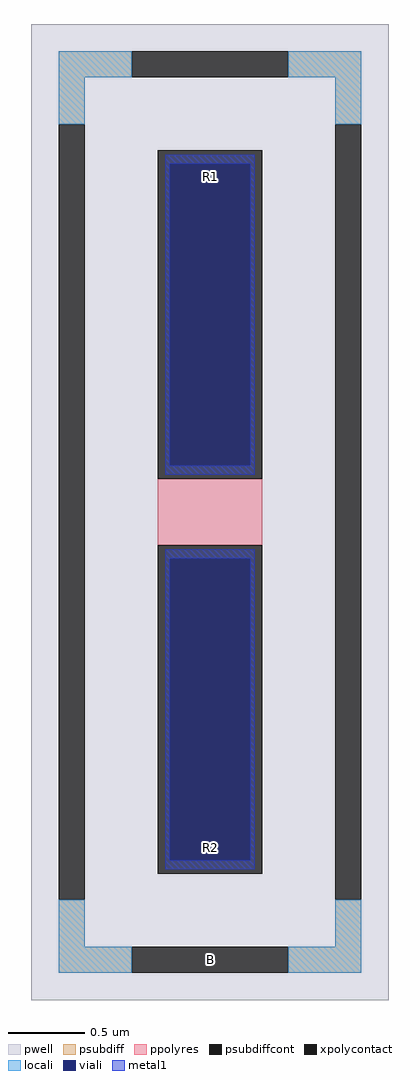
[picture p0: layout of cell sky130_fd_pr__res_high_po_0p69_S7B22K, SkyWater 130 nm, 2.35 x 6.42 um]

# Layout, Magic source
magic
tech sky130A
magscale 1 2
<< pwell >>
rect -235 -642 235 642
<< psubdiff >>
rect -199 572 -103 606
rect 103 572 199 606
rect -199 510 -165 572
rect 165 510 199 572
rect -199 -572 -165 -510
rect 165 -572 199 -510
rect -199 -606 -103 -572
rect 103 -606 199 -572
<< psubdiffcont >>
rect -103 572 103 606
rect -199 -510 -165 510
rect 165 -510 199 510
rect -103 -606 103 -572
<< xpolycontact >>
rect -69 44 69 476
rect -69 -476 69 -44
<< ppolyres >>
rect -69 -44 69 44
<< locali >>
rect -199 572 -103 606
rect 103 572 199 606
rect -199 510 -165 572
rect 165 510 199 572
rect -199 -572 -165 -510
rect 165 -572 199 -510
rect -199 -606 -103 -572
rect 103 -606 199 -572
<< viali >>
rect -53 61 53 458
rect -53 -458 53 -61
<< metal1 >>
rect -59 458 59 470
rect -59 61 -53 458
rect 53 61 59 458
rect -59 49 59 61
rect -59 -61 59 -49
rect -59 -458 -53 -61
rect 53 -458 59 -61
rect -59 -470 59 -458
<< labels >>
rlabel psubdiffcont 0 -589 0 -589 0 B
port 1 nsew
rlabel xpolycontact 0 441 0 441 0 R1
port 2 nsew
rlabel xpolycontact 0 -441 0 -441 0 R2
port 3 nsew
<< properties >>
string FIXED_BBOX -182 -589 182 589
string gencell sky130_fd_pr__res_high_po_0p69
string library sky130
string parameters w 0.690 l 0.6 m 1 nx 1 wmin 0.690 lmin 0.50 class resistor rho 319.8 val 842.782 dummy 0 dw 0.0 term 194.82 sterm 0.0 caplen 0 guard 1 glc 1 grc 1 gtc 1 gbc 1 compatible {sky130_fd_pr__res_high_po_0p35  sky130_fd_pr__res_high_po_0p69 sky130_fd_pr__res_high_po_1p41  sky130_fd_pr__res_high_po_2p85 sky130_fd_pr__res_high_po_5p73} snake 0 full_metal 1 wmax 0.690 n_guard 0 hv_guard 0 vias 1 viagb 0 viagt 0 viagl 0 viagr 0 doports 1
<< end >>
